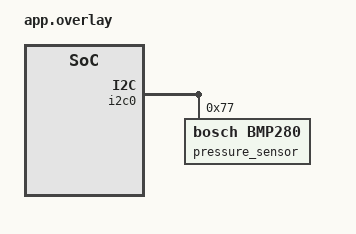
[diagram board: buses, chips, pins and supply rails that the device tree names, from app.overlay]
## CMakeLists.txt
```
#-------------------------------------------------------------------------------
# ATH20+BMP280 Board Sample
#
# Copyright (c) 2025 Sentry Robotics
# SPDX-License-Identifier: Apache-2.0

cmake_minimum_required(VERSION 3.13.1)
find_package(Zephyr REQUIRED HINTS $ENV{ZEPHYR_BASE})

project(ath20_bmp280_board LANGUAGES C)

target_sources(app PRIVATE src/main.c)
```

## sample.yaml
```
sample:
  name: ATH20+BMP280 Board Sample
tests:
  sample.sensor.ath20_bmp280_board:
    harness: console
    tags: sensors
    depends_on: i2c
    # harness_config:
    #     type: one_line
    #     regex:
    #         - "temp: (.*); press: (.*);"
    #     fixture: fixture_i2c_dps310
```

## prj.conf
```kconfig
# Copyright (c) 2025 Sentry Robotics
# SPDX-License-Identifier: Apache-2.0
#
# This file contains selected Kconfig options for the application.

CONFIG_SENSOR=y
CONFIG_I2C=y
CONFIG_LOG=y
CONFIG_SENSOR_LOG_LEVEL_DBG=y
# CONFIG_ENS160_APP_LOG_LEVEL_DBG=y
CONFIG_ESP32_USE_UNSUPPORTED_REVISION=y
```

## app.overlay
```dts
/*
 * Copyright (c) 2025 Sentry Robotics
 * SPDX-License-Identifier: Apache-2.0
 */

&i2c0 {
//	ht_sensor: aht20@38 {
//		compatible = "aosong,aht21";
//		reg = <0x38>;
//	};

	pressure_sensor: bmp280@77 {
		compatible = "bosch,bmp280";
		reg = <0x77>;
		iir-filter = <0>;
		osr-temperature = <16>;
		osr-pressure = <16>;
	};
};
```

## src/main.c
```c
/*
 * Copyright (c) 2025 Sentry Robotics
 * SPDX-License-Identifier: Apache-2.0
 */

#include <zephyr/kernel.h>
#include <zephyr/drivers/sensor.h>
#include <zephyr/logging/log.h>

LOG_MODULE_REGISTER(app);

void main(void)
{
	int ret;
	const struct device *ht_sensor;
	const struct device *pressure_sensor;

	LOG_INF("ATH20+BMP280 board sample started");

	// ht_sensor = DEVICE_DT_GET(DT_NODELABEL(ht_sensor));
	// if (!device_is_ready(ht_sensor)) {
	// 	LOG_ERR("Humidity and Temp sensor %s not ready", ht_sensor->name);
	// 	return;
	// }

	pressure_sensor = DEVICE_DT_GET(DT_NODELABEL(pressure_sensor));
	if (!device_is_ready(pressure_sensor)) {
		LOG_ERR("Pressure sensor %s not ready", pressure_sensor->name);
		return;
	}

	while (1) {
		struct sensor_value val;

		// ret = sensor_sample_fetch(ht_sensor);
		// if (ret < 0) {
		// 	LOG_ERR("%s - could not fetch sample (%d)", ht_sensor->name, ret);
		// 	return;
		// }

		ret = sensor_sample_fetch(pressure_sensor);
		if (ret < 0) {
			LOG_ERR("%s - could not fetch sample (%d)", pressure_sensor->name, ret);
			// return;
		}

		// ret = sensor_channel_get(ht_sensor, SENSOR_CHAN_HUMIDITY, &val);
		// if (ret < 0) {
		// 	LOG_ERR("Could not get SENSOR_CHAN_HUMIDITY channel (%d)", ret);
		// } else {
		// 	LOG_INF("%s: Relative Humidity (%%): %d.%06d", ht_sensor->name, val.val1, val.val2);
		// }
		//
		// ret = sensor_channel_get(ht_sensor, SENSOR_CHAN_AMBIENT_TEMP, &val);
		// if (ret < 0) {
		// 	LOG_ERR("Could not get SENSOR_CHAN_AMBIENT_TEMP channel (%d)", ret);
		// } else {
		// 	LOG_INF("%s: Temperature (C): %d.%06d", ht_sensor->name, val.val1, val.val2);
		// }

		ret = sensor_channel_get(pressure_sensor, SENSOR_CHAN_PRESS, &val);
		if (ret < 0) {
			LOG_ERR("Could not get SENSOR_CHAN_PRESS channel (%d)", ret);
		} else {
			LOG_INF("%s: Pressure (kPa): %d.%06d", pressure_sensor->name, val.val1, val.val2);
		}

		ret = sensor_channel_get(pressure_sensor, SENSOR_CHAN_AMBIENT_TEMP, &val);
		if (ret < 0) {
			LOG_ERR("Could not get SENSOR_CHAN_AMBIENT_TEMP channel (%d)", ret);
		} else {
			LOG_INF("%s: Temperature (C): %d.%06d", pressure_sensor->name, val.val1, val.val2);
		}

		k_msleep(2000);
	}
}
```
